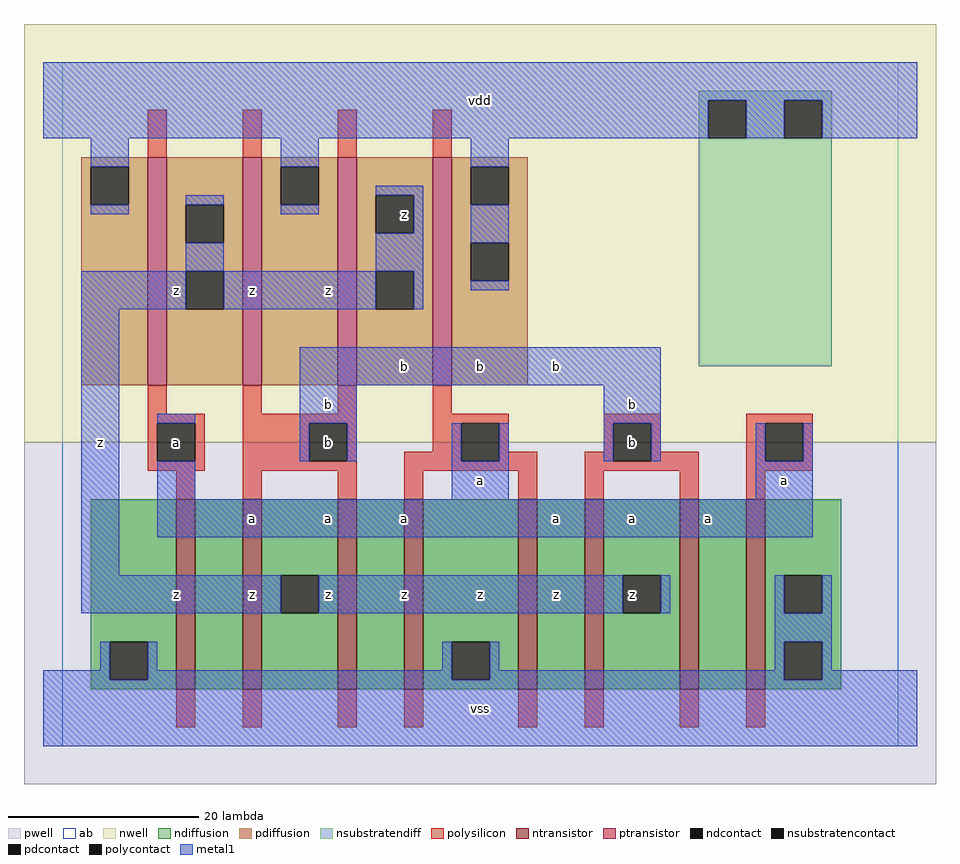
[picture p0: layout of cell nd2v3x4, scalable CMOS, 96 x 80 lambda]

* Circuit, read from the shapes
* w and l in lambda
.subckt nd2v3x4 a b vdd vss z
M1 n1 a vss VSUBS nfet w=20 l=2
M2 z b n1 VSUBS nfet w=20 l=2
M3 n2 b z VSUBS nfet w=20 l=2
M4 vss a n2 VSUBS nfet w=20 l=2
M5 n3 a vss VSUBS nfet w=20 l=2
M6 z b n3 VSUBS nfet w=20 l=2
M7 n4 b z VSUBS nfet w=20 l=2
M8 vss a n4 VSUBS nfet w=20 l=2
M9 z a vdd vdd pfet w=24 l=2 m=2
M10 vdd b z vdd pfet w=24 l=2 m=2
.ends

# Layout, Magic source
magic
tech scmos
<< ab >>
rect 0 0 88 72
<< pwell >>
rect -4 -4 92 32
<< nwell >>
rect -4 32 92 76
<< polysilicon >>
rect 9 62 11 67
rect 19 62 21 67
rect 29 62 31 67
rect 39 62 41 67
rect 9 35 11 38
rect 19 35 21 38
rect 29 35 31 38
rect 9 34 15 35
rect 9 30 10 34
rect 14 30 15 34
rect 9 29 15 30
rect 19 34 31 35
rect 19 30 26 34
rect 30 30 31 34
rect 39 35 41 38
rect 39 34 47 35
rect 39 31 42 34
rect 19 29 31 30
rect 12 26 14 29
rect 19 26 21 29
rect 29 26 31 29
rect 36 30 42 31
rect 46 31 47 34
rect 57 34 63 35
rect 57 31 58 34
rect 46 30 50 31
rect 36 29 50 30
rect 36 26 38 29
rect 48 26 50 29
rect 55 30 58 31
rect 62 31 63 34
rect 72 34 79 35
rect 62 30 67 31
rect 55 29 67 30
rect 55 26 57 29
rect 65 26 67 29
rect 72 30 74 34
rect 78 30 79 34
rect 72 29 79 30
rect 72 26 74 29
rect 12 2 14 6
rect 19 2 21 6
rect 29 2 31 6
rect 36 2 38 6
rect 48 2 50 6
rect 55 2 57 6
rect 65 2 67 6
rect 72 2 74 6
<< ndiffusion >>
rect 3 11 12 26
rect 3 7 5 11
rect 9 7 12 11
rect 3 6 12 7
rect 14 6 19 26
rect 21 18 29 26
rect 21 14 23 18
rect 27 14 29 18
rect 21 6 29 14
rect 31 6 36 26
rect 38 11 48 26
rect 38 7 41 11
rect 45 7 48 11
rect 38 6 48 7
rect 50 6 55 26
rect 57 18 65 26
rect 57 14 59 18
rect 63 14 65 18
rect 57 6 65 14
rect 67 6 72 26
rect 74 18 82 26
rect 74 14 76 18
rect 80 14 82 18
rect 74 11 82 14
rect 74 7 76 11
rect 80 7 82 11
rect 74 6 82 7
<< pdiffusion >>
rect 2 61 9 62
rect 2 57 3 61
rect 7 57 9 61
rect 2 38 9 57
rect 11 57 19 62
rect 11 53 13 57
rect 17 53 19 57
rect 11 50 19 53
rect 11 46 13 50
rect 17 46 19 50
rect 11 38 19 46
rect 21 61 29 62
rect 21 57 23 61
rect 27 57 29 61
rect 21 38 29 57
rect 31 58 39 62
rect 31 54 33 58
rect 37 54 39 58
rect 31 50 39 54
rect 31 46 33 50
rect 37 46 39 50
rect 31 38 39 46
rect 41 61 49 62
rect 41 57 43 61
rect 47 57 49 61
rect 41 53 49 57
rect 41 49 43 53
rect 47 49 49 53
rect 41 38 49 49
<< metal1 >>
rect -2 68 90 72
rect -2 64 68 68
rect 72 64 76 68
rect 80 64 90 68
rect 3 61 7 64
rect 23 61 27 64
rect 3 56 7 57
rect 13 57 17 58
rect 43 61 47 64
rect 23 56 27 57
rect 33 58 38 59
rect 13 50 17 53
rect 37 54 38 58
rect 33 50 38 54
rect 2 46 13 50
rect 17 46 33 50
rect 37 46 38 50
rect 43 53 47 57
rect 43 48 47 49
rect 2 18 6 46
rect 25 38 63 42
rect 10 34 14 35
rect 25 34 31 38
rect 57 34 63 38
rect 25 30 26 34
rect 30 30 31 34
rect 41 30 42 34
rect 46 30 47 34
rect 57 30 58 34
rect 62 30 63 34
rect 73 30 74 34
rect 78 30 79 34
rect 10 26 14 30
rect 41 26 47 30
rect 73 26 79 30
rect 10 22 79 26
rect 2 14 23 18
rect 27 14 59 18
rect 63 14 64 18
rect 75 14 76 18
rect 80 14 81 18
rect 75 11 81 14
rect 4 8 5 11
rect -2 7 5 8
rect 9 8 10 11
rect 40 8 41 11
rect 9 7 41 8
rect 45 8 46 11
rect 75 8 76 11
rect 45 7 76 8
rect 80 8 81 11
rect 80 7 90 8
rect -2 0 90 7
<< ntransistor >>
rect 12 6 14 26
rect 19 6 21 26
rect 29 6 31 26
rect 36 6 38 26
rect 48 6 50 26
rect 55 6 57 26
rect 65 6 67 26
rect 72 6 74 26
<< ptransistor >>
rect 9 38 11 62
rect 19 38 21 62
rect 29 38 31 62
rect 39 38 41 62
<< polycontact >>
rect 10 30 14 34
rect 26 30 30 34
rect 42 30 46 34
rect 58 30 62 34
rect 74 30 78 34
<< ndcontact >>
rect 5 7 9 11
rect 23 14 27 18
rect 41 7 45 11
rect 59 14 63 18
rect 76 14 80 18
rect 76 7 80 11
<< pdcontact >>
rect 3 57 7 61
rect 13 53 17 57
rect 13 46 17 50
rect 23 57 27 61
rect 33 54 37 58
rect 33 46 37 50
rect 43 57 47 61
rect 43 49 47 53
<< nsubstratencontact >>
rect 68 64 72 68
rect 76 64 80 68
<< nsubstratendiff >>
rect 67 68 81 69
rect 67 64 68 68
rect 72 64 76 68
rect 80 64 81 68
rect 67 40 81 64
<< labels >>
rlabel metal1 12 16 12 16 6 z
rlabel polycontact 12 32 12 32 6 a
rlabel metal1 4 32 4 32 6 z
rlabel metal1 12 48 12 48 6 z
rlabel metal1 20 16 20 16 6 z
rlabel metal1 28 16 28 16 6 z
rlabel metal1 20 24 20 24 6 a
rlabel metal1 28 24 28 24 6 a
rlabel polycontact 28 32 28 32 6 b
rlabel metal1 28 36 28 36 6 b
rlabel metal1 20 48 20 48 6 z
rlabel metal1 28 48 28 48 6 z
rlabel metal1 44 4 44 4 6 vss
rlabel metal1 44 16 44 16 6 z
rlabel metal1 36 16 36 16 6 z
rlabel metal1 36 24 36 24 6 a
rlabel metal1 44 28 44 28 6 a
rlabel metal1 36 40 36 40 6 b
rlabel metal1 44 40 44 40 6 b
rlabel pdcontact 36 56 36 56 6 z
rlabel metal1 44 68 44 68 6 vdd
rlabel ndcontact 60 16 60 16 6 z
rlabel metal1 52 16 52 16 6 z
rlabel metal1 52 24 52 24 6 a
rlabel metal1 60 24 60 24 6 a
rlabel metal1 68 24 68 24 6 a
rlabel polycontact 60 32 60 32 6 b
rlabel metal1 52 40 52 40 6 b
rlabel metal1 60 36 60 36 6 b
rlabel metal1 76 28 76 28 6 a
<< end >>
